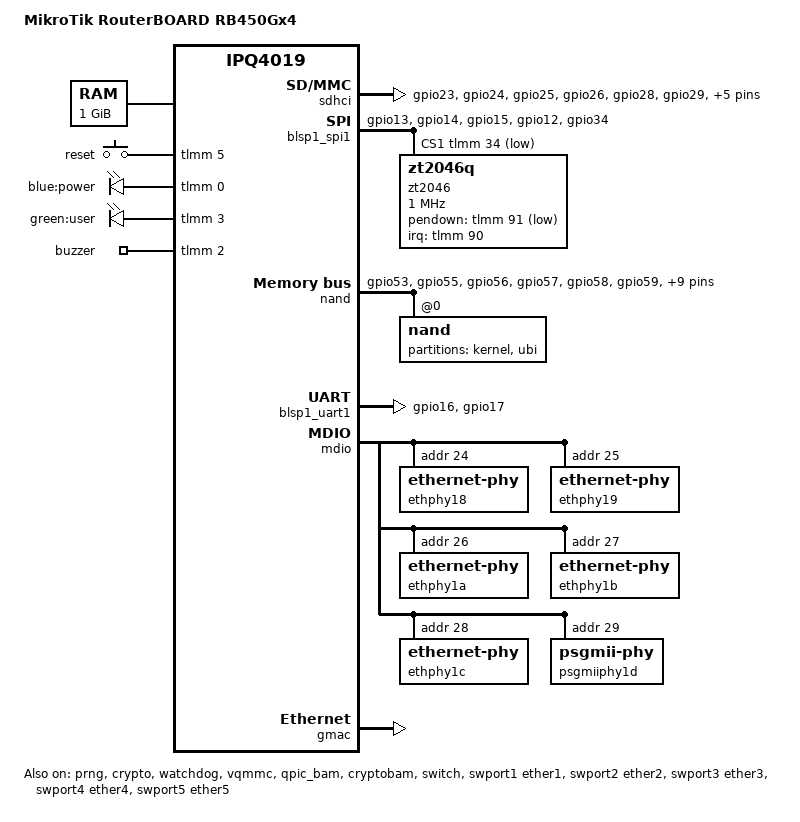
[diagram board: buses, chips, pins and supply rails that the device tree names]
// SPDX-License-Identifier: GPL-2.0-or-later OR MIT
/* Copyright (c) 2019, Robert Marko <robimarko@gmail.com> */

#include "qcom-ipq4019.dtsi"
#include "qcom-ipq4019-mikrotik_nor.dtsi"
#include <dt-bindings/gpio/gpio.h>
#include <dt-bindings/input/input.h>
#include <dt-bindings/soc/qcom,tcsr.h>
#include <dt-bindings/interrupt-controller/irq.h>

/ {
	model = "MikroTik RouterBOARD RB450Gx4";
	compatible = "mikrotik,rb450gx4";

	memory {
		device_type = "memory";
		reg = <0x80000000 0x40000000>;
	};

	chosen {
		stdout-path = "serial0:115200n8";
	};

	aliases {
		led-boot = &led_user;
		led-failsafe = &led_user;
		led-running = &led_user;
		led-upgrade = &led_user;
		label-mac-device = &gmac;
	};

	soc {
		ess_tcsr@1953000 {
			compatible = "qcom,tcsr";
			reg = <0x1953000 0x1000>;
			qcom,ess-interface-select = <TCSR_ESS_PSGMII>;
		};
	};

	keys {
		compatible = "gpio-keys";

		reset {
			label = "reset";
			gpios = <&tlmm 5 GPIO_ACTIVE_HIGH>;
			linux,code = <KEY_RESTART>;
		};
	};

	leds {
		compatible = "gpio-leds";

		power {
			label = "blue:power";
			gpios = <&tlmm 0 GPIO_ACTIVE_HIGH>;
			default-state = "keep";
			panic-indicator;
		};

		led_user: user {
			label = "green:user";
			gpios = <&tlmm 3 GPIO_ACTIVE_HIGH>;
		};
	};

	gpio_export {
		compatible = "gpio-export";
		#size-cells = <0>;

		buzzer {
			/* Beeper requires PWM for frequency selection */
			gpio-export,name = "buzzer";
			gpio-export,output = <0>;
			gpios = <&tlmm 2 GPIO_ACTIVE_HIGH>;
		};
	};
};

&prng {
	status = "okay";
};

&crypto {
	status = "okay";
};

&watchdog {
	status = "okay";
};

&vqmmc {
	status = "okay";
};

&sdhci {
	status = "okay";

	pinctrl-0 = <&sd_pins>;
	pinctrl-names = "default";
	cd-gpios = <&tlmm 22 GPIO_ACTIVE_LOW>;
	vqmmc-supply = <&vqmmc>;
};

&qpic_bam {
	status = "okay";
};

&tlmm {
	gpio-line-names = "led-blue", "", "buzzer-pwm", "led-green", "", "reset", "", "",
		"", "", "", "", "spi-cs0", "", "", "",
		"", "", "", "", "", "", "mmc-card-detect", "",
		"", "", "", "", "", "", "", "",
		"", "", "spi-cs1-ts", "", "", "", "", "",
		"", "poe-passive-compatible-present", "poe-passive-switch";
		/*
		* gpio41 input port5 passive PoE goes low when unpowered passive PoE device present
		* gpio42 output port5 passive PoE powers when high
		*/

	serial_pins: serial_pinmux {
		pins = "gpio16", "gpio17";
		function = "blsp_uart0";
		bias-disable;
	};

	spi_0_pins: spi_0_pinmux {
		pinmux {
			function = "blsp_spi0";
			pins = "gpio13", "gpio14", "gpio15";
			drive-strength = <12>;
			bias-disable;
		};

		pinmux_cs {
			function = "gpio";
			pins = "gpio12";
			drive-strength = <2>;
			bias-disable;
			output-high;
		};

		pinmux_cs1_ts {
			function = "gpio";
			pins = "gpio34";
			drive-strength = <2>;
			bias-disable;
			output-high;
		};
	};

	nand_pins: nand_pins {
		pins = "gpio53", "gpio55", "gpio56",
			"gpio57", "gpio58", "gpio59",
			"gpio60", "gpio62", "gpio63",
			"gpio64", "gpio65", "gpio66",
			"gpio67", "gpio68", "gpio69";
		function = "qpic";
	};

	sd_pins: sd_pins {
		pinmux {
			function = "sdio";
			pins = "gpio23", "gpio24", "gpio25", "gpio26",
				"gpio28", "gpio29", "gpio30", "gpio31";
			drive-strength = <10>;
		};

		pinmux_sd_clk {
			function = "sdio";
			pins = "gpio27";
			drive-strength = <16>;
		};

		pinmux_sd7 {
			function = "sdio";
			pins = "gpio32";
			drive-strength = <10>;
			bias-disable;
		};
	};
};

&blsp_dma {
	status = "okay";
};

&blsp1_spi1 {
	status = "okay";

	pinctrl-0 = <&spi_0_pins>;
	pinctrl-names = "default";
	cs-gpios = <&tlmm 12 GPIO_ACTIVE_LOW>, <&tlmm 34 GPIO_ACTIVE_LOW>;

	zt2046@1 {
		reg = <1>;
		compatible = "zt2046q", "ti,ads7846";
		spi-max-frequency = <1000000>;
		/* driver needs irq & pendown. supply dummies */
		interrupts-extended = <&tlmm 90 IRQ_TYPE_NONE>;
		pendown-gpio = <&tlmm 91 GPIO_ACTIVE_LOW>;
	};
};

&flash0 {
	/* any faster and get SPI timeouts reading NOR */
	spi-max-frequency = <24000000>;
};

&nand {
	status = "okay";

	pinctrl-0 = <&nand_pins>;
	pinctrl-names = "default";

	nand@0 {
		partitions {
			compatible = "fixed-partitions";
			#address-cells = <1>;
			#size-cells = <1>;

			partition@0 {
				label = "kernel";
				reg = <0x000000 0x800000>;
			};

			partition@800000 {
				label = "ubi";
				reg = <0x800000 0x1f800000>;
			};
		};
	};
};

&blsp1_uart1 {
	status = "okay";

	pinctrl-0 = <&serial_pins>;
	pinctrl-names = "default";
};

&cryptobam {
	status = "okay";
};

&mdio {
	status = "okay";

	// Mikrotik rb450gx4 uses offset +0x18 MDIO regs for _some_ reason
	ethphy18: ethernet-phy@18 {
		reg = <0x18>;
	};

	ethphy19: ethernet-phy@19 {
		reg = <0x19>;
	};

	ethphy1a: ethernet-phy@1a {
		reg = <0x1a>;
	};

	ethphy1b: ethernet-phy@1b {
		reg = <0x1b>;
	};

	ethphy1c: ethernet-phy@1c {
		reg = <0x1c>;
	};

	psgmiiphy1d: psgmii-phy@1d {
		reg = <0x1d>;
	};
};

&gmac {
	status = "okay";
	nvmem-cells = <&macaddr_base 0>;
	nvmem-cell-names = "mac-address";
};

&switch {
	status = "okay";

	psgmii-ethphy = <&psgmiiphy1d>;
};

&swport1 {
	status = "okay";

	phy-handle = <&ethphy18>;
	label = "ether1";
	nvmem-cells = <&macaddr_base 0>;
	nvmem-cell-names = "mac-address";
};

&swport2 {
	status = "okay";

	phy-handle = <&ethphy19>;
	label = "ether2";
	nvmem-cells = <&macaddr_base 1>;
	nvmem-cell-names = "mac-address";
};

&swport3 {
	status = "okay";

	phy-handle = <&ethphy1a>;
	label = "ether3";
	nvmem-cells = <&macaddr_base 2>;
	nvmem-cell-names = "mac-address";
};

&swport4 {
	status = "okay";

	phy-handle = <&ethphy1b>;
	label = "ether4";
	nvmem-cells = <&macaddr_base 3>;
	nvmem-cell-names = "mac-address";
};

&swport5 {
	status = "okay";

	phy-handle = <&ethphy1c>;
	label = "ether5";
	nvmem-cells = <&macaddr_base 4>;
	nvmem-cell-names = "mac-address";
};
